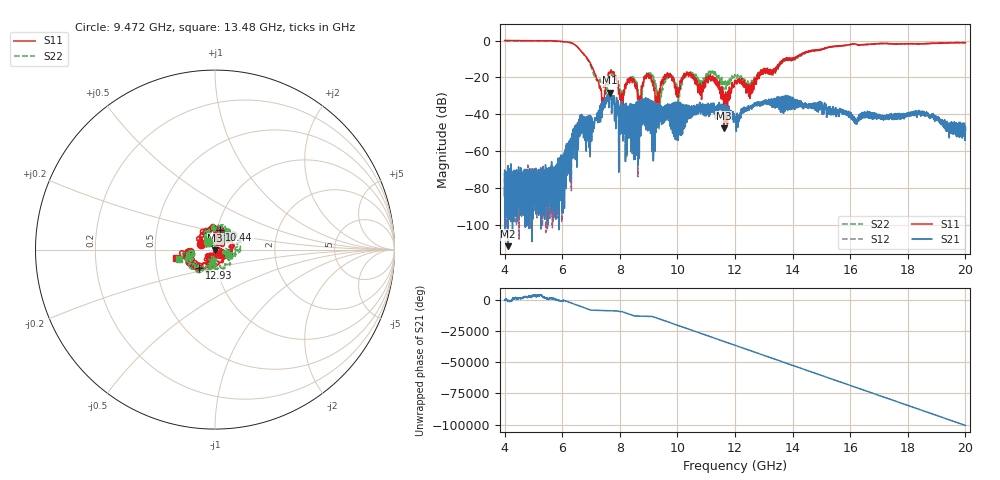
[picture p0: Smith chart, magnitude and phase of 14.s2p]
[Version] 2.0
! Rohde & Schwarz Vector Network Analyzer
! Rohde-Schwarz,ZNL20-2Port,1323001220200009,1.71.1.10-23.02.1.238
! Port Assignments:
! Nominal Port -> Actual Test Port
!  1 -> 1
!  2 -> 2
! Created: GMT+2 2025-01-16 20:25:16
# Hz S RI R 50
[Number of Ports] 2
[Two-Port Data Order] 21_12
! freq[Hz]  S11[Re]  S11[Im]  S21[Re]  S21[Im]  S12[Re]  S12[Im]  S22[Re]  S22[Im]
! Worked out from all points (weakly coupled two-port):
!   16001 points, 4 GHz to 20 GHz, reference 50 ohm
!   highest |S21| = -28.31 dB at 7.645 GHz (marker M1); lowest = -111.5 dB at 4.117 GHz (marker M2)
!   lowest |S11| = -47.5 dB at 11.62 GHz (marker M3), VSWR 1.01, Z = 50.1 - j0.417 ohm
!   |S11| at or under -10 dB: 6.885 GHz to 13.7 GHz (6.816 GHz wide, 66.2 % of centre); 13.71499 GHz to 13.74354 GHz (28.55 MHz wide, 0.208 % of centre); 13.94341 GHz to 13.9673 GHz (23.89 MHz wide, 0.171 % of centre) (the widest 3 of 9)
!   |S22| runs from -49.0 to 0.0 dB; largest |S21 - S12| = 0.0022
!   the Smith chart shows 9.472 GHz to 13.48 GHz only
!   S11 on the Smith chart (normalised r, x): 9.472 GHz: 0.85, +0.05; 10.44 GHz: 1.03, +0.23; 12.93 GHz: 0.82, -0.17; 13.48 GHz: 0.64, -0.06
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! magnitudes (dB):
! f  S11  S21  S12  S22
! 4 GHz  0.0  -83.9  -81.7  -0.2
! 4.117 GHz  0.0  -111.5  -80.4  -0.1
! 5.767 GHz  -0.3  -74.4  -72.2  -0.4
! 6.667 GHz  -6.0  -41.0  -40.7  -6.0
! 7.406 GHz  -31.2  -34.3  -34.3  -22.4
! 7.645 GHz  -17.4  -28.3  -28.3  -20.0
! 8.041 GHz  -37.2  -34.9  -34.8  -29.9
! 8.429 GHz  -22.8  -41.2  -41.1  -21.7
! 8.71 GHz  -32.3  -34.5  -34.5  -38.1
! 9.048 GHz  -20.2  -32.8  -32.8  -18.6
! 9.334 GHz  -28.2  -34.4  -34.3  -31.8
! 9.472 GHz  -21.3  -36.2  -36.3  -24.8
! 9.763 GHz  -19.6  -34.9  -34.8  -19.8
! 10.01 GHz  -25.9  -33.4  -33.5  -27.1
! 10.44 GHz  -18.9  -36.1  -36.2  -17.7
! 11.62 GHz  -47.5  -35.8  -35.5  -24.3
! 12 GHz  -21.8  -43.7  -44.1  -18.8
! 12.93 GHz  -17.4  -33.3  -33.4  -16.5
! 13.48 GHz  -13.1  -34.2  -34.1  -13.7
! 14.67 GHz  -5.5  -34.6  -34.4  -5.8
! 17.33 GHz  -1.8  -41.4  -40.6  -1.8
! 20 GHz  -1.2  -48.5  -47.0  -1.1
